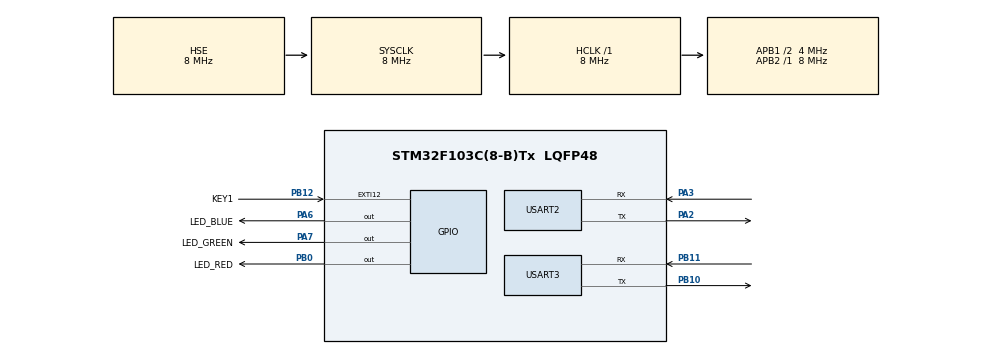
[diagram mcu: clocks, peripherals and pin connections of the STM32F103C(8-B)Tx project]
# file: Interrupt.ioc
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Dma.Request0=USART2_RX
Dma.Request1=USART2_TX
Dma.USART2_RX.0.Direction=DMA_PERIPH_TO_MEMORY
Dma.USART2_RX.0.Instance=DMA1_Channel6
Dma.USART2_RX.0.MemDataAlignment=DMA_MDATAALIGN_BYTE
Dma.USART2_RX.0.MemInc=DMA_MINC_ENABLE
Dma.USART2_RX.0.Mode=DMA_NORMAL
Dma.USART2_RX.0.PeriphDataAlignment=DMA_PDATAALIGN_BYTE
Dma.USART2_RX.0.PeriphInc=DMA_PINC_DISABLE
Dma.USART2_RX.0.Priority=DMA_PRIORITY_LOW
Dma.USART2_TX.1.Direction=DMA_MEMORY_TO_PERIPH
Dma.USART2_TX.1.Instance=DMA1_Channel7
Dma.USART2_TX.1.MemDataAlignment=DMA_MDATAALIGN_BYTE
Dma.USART2_TX.1.MemInc=DMA_MINC_ENABLE
Dma.USART2_TX.1.Mode=DMA_NORMAL
Dma.USART2_TX.1.PeriphDataAlignment=DMA_PDATAALIGN_BYTE
Dma.USART2_TX.1.PeriphInc=DMA_PINC_DISABLE
Dma.USART2_TX.1.Priority=DMA_PRIORITY_LOW
FREERTOS.Queues01=RemoteQueue,16,uint8_t,0,Dynamic,NULL,NULL
FREERTOS.Tasks01=DebugTask,24,128,StartDebugTask,Default,NULL,Dynamic,NULL,NULL;RemoteTask,8,128,StartRemoteTask,Default,NULL,Dynamic,NULL,NULL
Mcu.Family=STM32F1
Mcu.Name=STM32F103C(8-B)Tx
Mcu.Package=LQFP48
NVIC.DMA1_Channel6_IRQn=true\:5\:0\:false\:false\:true\:true\:false\:true\:true
NVIC.DMA1_Channel7_IRQn=true\:5\:0\:false\:false\:true\:true\:false\:true\:true
NVIC.EXTI15_10_IRQn=true\:5\:0\:true\:false\:true\:true\:true\:true\:true
NVIC.PriorityGroup=NVIC_PRIORITYGROUP_4
NVIC.TIM4_IRQn=true\:15\:0\:false\:false\:true\:false\:false\:true\:true
NVIC.TimeBase=TIM4_IRQn
NVIC.TimeBaseIP=TIM4
NVIC.USART2_IRQn=true\:5\:0\:false\:false\:true\:true\:true\:true\:true
NVIC.USART3_IRQn=true\:5\:0\:false\:false\:true\:true\:true\:true\:true
PA13.Mode=Serial_Wire
PA13.Signal=SYS_JTMS-SWDIO
PA14.Mode=Serial_Wire
PA14.Signal=SYS_JTCK-SWCLK
PA2.Mode=Asynchronous
PA2.Signal=USART2_TX
PA3.Mode=Asynchronous
PA3.Signal=USART2_RX
PA6.GPIO_Label=LED_BLUE
PA6.Signal=GPIO_Output
PA7.GPIO_Label=LED_GREEN
PA7.Signal=GPIO_Output
PB0.GPIO_Label=LED_RED
PB0.Signal=GPIO_Output
PB10.Mode=Asynchronous
PB10.Signal=USART3_TX
PB11.Mode=Asynchronous
PB11.Signal=USART3_RX
PB12.GPIO_Label=KEY1
PB12.GPIO_ModeDefaultEXTI=GPIO_MODE_IT_FALLING
PB12.Signal=GPXTI12
PD0-OSC_IN.Mode=HSE-External-Oscillator
PD0-OSC_IN.Signal=RCC_OSC_IN
PD1-OSC_OUT.Mode=HSE-External-Oscillator
PD1-OSC_OUT.Signal=RCC_OSC_OUT
ProjectManager.HeapSize=0x200
ProjectManager.StackSize=0x400
ProjectManager.TargetToolchain=STM32CubeIDE
RCC.AHBFreq_Value=8000000
RCC.APB1CLKDivider=RCC_HCLK_DIV2
RCC.APB1Freq_Value=4000000
RCC.APB1TimFreq_Value=8000000
RCC.APB2Freq_Value=8000000
RCC.APB2TimFreq_Value=8000000
RCC.HCLKFreq_Value=8000000
RCC.PLLMUL=RCC_PLL_MUL9
RCC.PLLSourceVirtual=RCC_PLLSOURCE_HSE
RCC.RCC_MCOSource=RCC_MCO1SOURCE_PLLCLK
RCC.SYSCLKFreq_VALUE=8000000
RCC.SYSCLKSource=RCC_SYSCLKSOURCE_HSE
RCC.USBFreq_Value=72000000
USART2.VirtualMode=VM_ASYNC
USART3.VirtualMode=VM_ASYNC
VP_FREERTOS_VS_CMSIS_V2.Mode=CMSIS_V2
VP_SYS_VS_tim4.Mode=TIM4
board=custom

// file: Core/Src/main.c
/* USER CODE BEGIN Header */
/**
  ******************************************************************************
  * @file           : main.c
  * @brief          : Main program body
  ******************************************************************************
  * @attention
  *
  * Copyright (c) 2025 STMicroelectronics.
  * All rights reserved.
  *
  * This software is licensed under terms that can be found in the LICENSE file
  * in the root directory of this software component.
  * If no LICENSE file comes with this software, it is provided AS-IS.
  *
  ******************************************************************************
  */
/* USER CODE END Header */
#include "main.h"
#include "cmsis_os.h"
#include "dma.h"
#include "usart.h"
#include "gpio.h"

void SystemClock_Config(void);
void MX_FREERTOS_Init(void);

int main(void)
{

  /* MCU Configuration--------------------------------------------------------*/

  /* Reset of all peripherals, Initializes the Flash interface and the Systick. */
  HAL_Init();

  /* Configure the system clock */
  SystemClock_Config();

  /* Initialize all configured peripherals */
  MX_GPIO_Init();
  MX_DMA_Init();
  MX_USART2_UART_Init();
  MX_USART3_UART_Init();

  /* Init scheduler */
  osKernelInitialize();  /* Call init function for freertos objects (in cmsis_os2.c) */
  MX_FREERTOS_Init();

  /* Start scheduler */
  osKernelStart();

  /* We should never get here as control is now taken by the scheduler */

  /* Infinite loop */
  while (1)
  {

  }
}

void SystemClock_Config(void)
{
  RCC_OscInitTypeDef RCC_OscInitStruct = {0};
  RCC_ClkInitTypeDef RCC_ClkInitStruct = {0};

  /** Initializes the RCC Oscillators according to the specified parameters
  * in the RCC_OscInitTypeDef structure.
  */
  RCC_OscInitStruct.OscillatorType = RCC_OSCILLATORTYPE_HSE;
  RCC_OscInitStruct.HSEState = RCC_HSE_ON;
  RCC_OscInitStruct.PLL.PLLState = RCC_PLL_NONE;
  if (HAL_RCC_OscConfig(&RCC_OscInitStruct) != HAL_OK)
  {
    Error_Handler();
  }

  /** Initializes the CPU, AHB and APB buses clocks
  */
  RCC_ClkInitStruct.ClockType = RCC_CLOCKTYPE_HCLK|RCC_CLOCKTYPE_SYSCLK
                              |RCC_CLOCKTYPE_PCLK1|RCC_CLOCKTYPE_PCLK2;
  RCC_ClkInitStruct.SYSCLKSource = RCC_SYSCLKSOURCE_HSE;
  RCC_ClkInitStruct.AHBCLKDivider = RCC_SYSCLK_DIV1;
  RCC_ClkInitStruct.APB1CLKDivider = RCC_HCLK_DIV2;
  RCC_ClkInitStruct.APB2CLKDivider = RCC_HCLK_DIV1;

  if (HAL_RCC_ClockConfig(&RCC_ClkInitStruct, FLASH_LATENCY_0) != HAL_OK)
  {
    Error_Handler();
  }
}

void HAL_TIM_PeriodElapsedCallback(TIM_HandleTypeDef *htim)
{
  if (htim->Instance == TIM4)
  {
    HAL_IncTick();
  }
}

void Error_Handler(void)
{
  __disable_irq();
  while (1)
  {
  }
}

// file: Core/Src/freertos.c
/* USER CODE BEGIN Header */
/**
 ******************************************************************************
 * File Name          : freertos.c
 * Description        : Code for freertos applications
 ******************************************************************************
 * @attention
 *
 * Copyright (c) 2025 STMicroelectronics.
 * All rights reserved.
 *
 * This software is licensed under terms that can be found in the LICENSE file
 * in the root directory of this software component.
 * If no LICENSE file comes with this software, it is provided AS-IS.
 *
 ******************************************************************************
 */
/* USER CODE END Header */

#include "FreeRTOS.h"
#include "task.h"
#include "main.h"
#include "cmsis_os.h"

/* USER CODE BEGIN Includes */
#include "stdio.h"
#include "stdlib.h"
#include "string.h"

#include "usart.h"

#include "remote_control.h"
/* USER CODE END Includes */

/* USER CODE BEGIN PTD */
extern DMA_HandleTypeDef hdma_usart2_rx;
extern DMA_HandleTypeDef hdma_usart2_tx;
extern UART_HandleTypeDef huart2;
extern UART_HandleTypeDef huart3;
/* USER CODE END PTD */

/* USER CODE BEGIN PD */
// uint8_t receiveData[18];
/* USER CODE END PD */

/* Definitions for DebugTask */
osThreadId_t DebugTaskHandle;
const osThreadAttr_t DebugTask_attributes = {
  .name = "DebugTask",
  .stack_size = 128 * 4,
  .priority = (osPriority_t) osPriorityNormal,
};
/* Definitions for RemoteTask */
osThreadId_t RemoteTaskHandle;
const osThreadAttr_t RemoteTask_attributes = {
  .name = "RemoteTask",
  .stack_size = 128 * 4,
  .priority = (osPriority_t) osPriorityLow,
};
/* Definitions for RemoteQueue */
osMessageQueueId_t RemoteQueueHandle;
const osMessageQueueAttr_t RemoteQueue_attributes = {
  .name = "RemoteQueue"
};

void StartDebugTask(void *argument);
void StartRemoteTask(void *argument);

void MX_FREERTOS_Init(void); /* (MISRA C 2004 rule 8.1) */

void MX_FREERTOS_Init(void) {

  /* Create the queue(s) */
  /* creation of RemoteQueue */
  RemoteQueueHandle = osMessageQueueNew (16, sizeof(uint8_t), &RemoteQueue_attributes);

  /* Create the thread(s) */
  /* creation of DebugTask */
  DebugTaskHandle = osThreadNew(StartDebugTask, NULL, &DebugTask_attributes);

  /* creation of RemoteTask */
  RemoteTaskHandle = osThreadNew(StartRemoteTask, NULL, &RemoteTask_attributes);

}

void StartDebugTask(void *argument)
{
  /* USER CODE BEGIN StartDebugTask */
    /* Infinite loop */
    for (;;)
    {
        HAL_GPIO_TogglePin(LED_RED_GPIO_Port, LED_RED_Pin);
        // printf("Debug Task Running\n");
        osDelay(1000);
    }
  /* USER CODE END StartDebugTask */
}

void StartRemoteTask(void *argument)
{
  /* USER CODE BEGIN StartRemoteTask */
    osDelay(5);
    HAL_UARTEx_ReceiveToIdle_DMA(&huart2, receiveData, sizeof(receiveData));
    //StartRemoteUART();

    RC_ctrl_t rc_control = {0}; // 初始化控制结构体

    /* Infinite loop */
    for (;;)
    {
        uint8_t Message_Remote[18] = {0};
        if (osMessageQueueGet(RemoteQueueHandle, &Message_Remote, NULL, osWaitForever) == osOK)
        {
            Message_Remote_to_rc(Message_Remote, &rc_control);
            // 打印解码后的数据
            printf("RC Channels: %d,%d,%d,%d,%d\n",
                   rc_control.rc.ch[0], rc_control.rc.ch[1],
                   rc_control.rc.ch[2], rc_control.rc.ch[3], rc_control.rc.ch[4]);
            printf("Switch: %d,%d\n",
                   rc_control.rc.s[0], rc_control.rc.s[1]);
            // const char *switch_states[] = {"DOWN", "UP", "MID"};
            // printf("Switch: %s,%s\n",
            //        switch_states[rc_control.rc.s[0] - 1],
            //        switch_states[rc_control.rc.s[1] - 1]);
            printf("Mouse: x=%d,y=%d,z=%d,left=%d,right=%d\n",
                   rc_control.mouse.x, rc_control.mouse.y,
                   rc_control.mouse.z, rc_control.mouse.press_l,
                   rc_control.mouse.press_r);
            printf("Keys: 0x%04X\n", rc_control.key.v);
        }
    }
  /* USER CODE END StartRemoteTask */
}

/* USER CODE BEGIN Application */

int _write(int fd, char *ptr, int len)
{
    HAL_UART_Transmit(&huart3, (uint8_t *)ptr, len, HAL_MAX_DELAY);
    return len;
}

void HAL_GPIO_EXTI_Callback(uint16_t GPIO_Pin)
{
    if (GPIO_Pin == KEY1_Pin)
    {
        osDelay(10);
        if (HAL_GPIO_ReadPin(KEY1_GPIO_Port, KEY1_Pin) == GPIO_PIN_RESET)
        {
            HAL_GPIO_TogglePin(LED_GREEN_GPIO_Port, LED_GREEN_Pin);
            printf("KEY Pressed\n");
        }
    }
}

// 不定长定时DMA中断接收
// void HAL_UARTEx_RxEventCallback(UART_HandleTypeDef *huart, uint16_t Size)
// {
//   HAL_UART_Transmit_DMA(&huart2, receiveData, sizeof(receiveData));
//   osDelay(1);
//   HAL_UARTEx_ReceiveToIdle_DMA(&huart2, receiveData, sizeof(receiveData));
// }

// 定长定时DMA中断接收
// void HAL_UART_RxCpltCallback(UART_HandleTypeDef *huart)
// {
//   HAL_UART_Transmit_DMA(&huart2, receiveData, sizeof(receiveData));
//   osDelay(10);
//   HAL_UART_Receive_DMA(&huart2, receiveData, sizeof(receiveData));
// }

// void HAL_UARTEx_RxEventCallback(UART_HandleTypeDef *huart, uint16_t Size)
// {
//     uint8_t Message_Remote[18] = {0};
//     if (huart->Instance == USART2 && Size > 0 && Size <= sizeof(receiveData))
//     {
//         // 复制接收到的数据
//         memcpy(Message_Remote, receiveData, Size);
//         // printf("第一次处理 %c\n", Message_Remote[0]);

//         // 将消息放入队列
//         osMessageQueuePut(RemoteQueueHandle, &Message_Remote, 0, 0);
//         // printf("第二次处理 %c\n", Message_Remote[0]);

//         // 清除 IDLE 中断标志
//         __HAL_UART_CLEAR_IDLEFLAG(huart);

//         // 重新启动IT接收
//         // HAL_UART_Transmit_DMA(&huart2, receiveData, sizeof(receiveData));
//         HAL_UARTEx_ReceiveToIdle_DMA(&huart2, receiveData, sizeof(receiveData));
//         __HAL_DMA_DISABLE_IT(&hdma_usart2_rx, DMA_IT_HT); // 禁止半传送中断
//     }
// }
/* USER CODE END Application */
